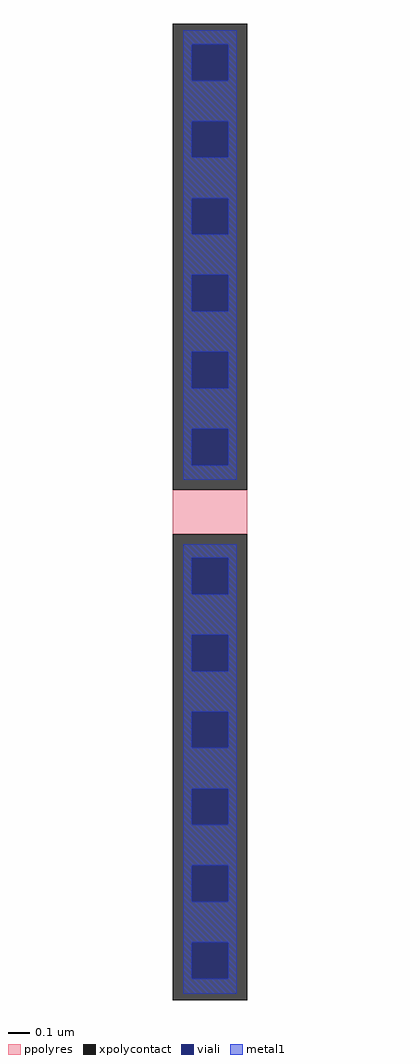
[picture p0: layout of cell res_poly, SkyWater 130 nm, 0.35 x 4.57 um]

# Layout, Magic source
magic
tech sky130A
magscale 1 2
<< xpolycontact >>
rect 92 518 162 954
rect 92 40 162 476
<< ppolyres >>
rect 92 476 162 518
<< viali >>
rect 110 901 144 935
rect 110 829 144 863
rect 110 757 144 791
rect 110 685 144 719
rect 110 613 144 647
rect 110 541 144 575
rect 110 420 144 454
rect 110 348 144 382
rect 110 276 144 310
rect 110 204 144 238
rect 110 132 144 166
rect 110 60 144 94
<< metal1 >>
rect 102 935 152 948
rect 102 901 110 935
rect 144 901 152 935
rect 102 863 152 901
rect 102 829 110 863
rect 144 829 152 863
rect 102 791 152 829
rect 102 757 110 791
rect 144 757 152 791
rect 102 719 152 757
rect 102 685 110 719
rect 144 685 152 719
rect 102 647 152 685
rect 102 613 110 647
rect 144 613 152 647
rect 102 575 152 613
rect 102 541 110 575
rect 144 541 152 575
rect 102 527 152 541
rect 102 454 152 467
rect 102 420 110 454
rect 144 420 152 454
rect 102 382 152 420
rect 102 348 110 382
rect 144 348 152 382
rect 102 310 152 348
rect 102 276 110 310
rect 144 276 152 310
rect 102 238 152 276
rect 102 204 110 238
rect 144 204 152 238
rect 102 166 152 204
rect 102 132 110 166
rect 144 132 152 166
rect 102 94 152 132
rect 102 60 110 94
rect 144 60 152 94
rect 102 46 152 60
<< end >>
